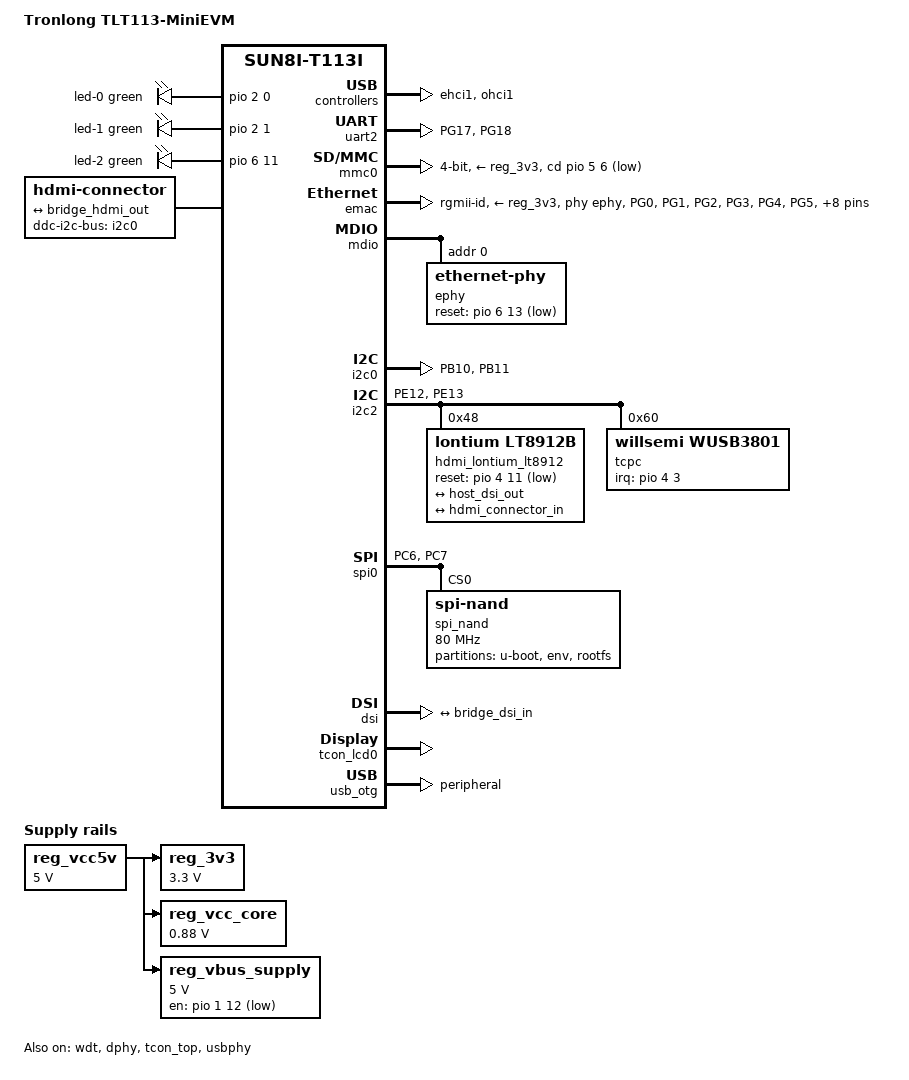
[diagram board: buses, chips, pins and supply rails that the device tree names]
// SPDX-License-Identifier: (GPL-2.0+ OR MIT)
// Copyright (C) 2022 Arm Ltd.
/*
 * Common peripherals and configurations for MangoPi MQ-R boards.
 */

#include <dt-bindings/gpio/gpio.h>
#include <dt-bindings/leds/common.h>

/dts-v1/;

#include <arm/allwinner/sun8i-t113s.dtsi>

/ {
	model = "Tronlong TLT113-MiniEVM";
	compatible = "tronlong,tlt113-minievm", "allwinner,sun8i-t113i";

	aliases {
		serial2 = &uart2;
	};

	chosen {
		stdout-path = "serial2:115200n8";
	};

	leds {
		compatible = "gpio-leds";

		led-0 {
			color = <LED_COLOR_ID_GREEN>;
			function = LED_FUNCTION_STATUS;
			gpios = <&pio 2 0 GPIO_ACTIVE_HIGH>; /* PC0 */
			linux,default-trigger = "heartbeat";
		};

		led-1 {
			color = <LED_COLOR_ID_GREEN>;
			function = LED_FUNCTION_DISK;
			gpios = <&pio 2 1 GPIO_ACTIVE_HIGH>; /* PC1 */
			linux,default-trigger = "mtd";
		};

		led-2 {
			color = <LED_COLOR_ID_GREEN>;
			function = LED_FUNCTION_HEARTBEAT;
			gpios = <&pio 6 11 GPIO_ACTIVE_HIGH>; /* PG11 */
			linux,default-trigger = "default-on";
		};

	};

	hdmi-connector {
		compatible = "hdmi-connector";
		ddc-i2c-bus = <&i2c0>;
		label = "hdmi";
		type = "a";

		port {
			hdmi_connector_in: endpoint {
				remote-endpoint = <&bridge_hdmi_out>;
			};
		};
	};

	/* EC2232E DC/DC regulator on SoM */
	reg_vcc5v: regulator-5v {
		compatible = "regulator-fixed";
		regulator-name = "vcc-5v";
		regulator-min-microvolt = <5000000>;
		regulator-max-microvolt = <5000000>;
		regulator-always-on;
	};

	/* EC2232E DC/DC regulator on SoM */
	reg_3v3: regulator-3v3 {
		compatible = "regulator-fixed";
		regulator-name = "vcc-3v3";
		regulator-min-microvolt = <3300000>;
		regulator-max-microvolt = <3300000>;
		vin-supply = <&reg_vcc5v>;
	};

	/* EC2232E DC/DC regulator on SoM, also supplying VDD-SYS */
	reg_vcc_core: regulator-core {
		compatible = "regulator-fixed";
		regulator-name = "vcc-core";
		regulator-min-microvolt = <880000>;
		regulator-max-microvolt = <880000>;
		vin-supply = <&reg_vcc5v>;
	};

	reg_vbus_supply: regulator-vbus-otg {
		compatible = "regulator-fixed";
		regulator-name = "vbus-otg";
		regulator-min-microvolt = <5000000>;
		regulator-max-microvolt = <5000000>;
		gpio = <&pio 1 12 GPIO_ACTIVE_HIGH>;
		vin-supply = <&reg_vcc5v>;
	};
};

&cpu0 {
	cpu-supply = <&reg_vcc_core>;
};

&cpu1 {
	cpu-supply = <&reg_vcc_core>;
};

&wdt {
	status = "okay";
};

&dcxo {
	clock-frequency = <24000000>;
};

&ehci1 {
	status = "okay";
};

&ohci1 {
	status = "okay";
};

&pio {
	vcc-pb-supply = <&reg_3v3>;
	vcc-pd-supply = <&reg_3v3>;
	vcc-pe-supply = <&reg_3v3>;
	vcc-pf-supply = <&reg_3v3>;
	vcc-pg-supply = <&reg_3v3>;

	uart2_pg_pins: uart2-pg-pins {
		pins = "PG17", "PG18";
		function = "uart2";
	};

	rgmii_pg_pins: rgmii-pg-pins {
		pins = "PG0", "PG1", "PG2", "PG3", "PG4",
			"PG5", "PG6", "PG7", "PG8", "PG9",
			"PG10", "PG12", "PG14", "PG15";
		function = "emac";
	};

	i2c0_pins: i2c0-pins {
		pins = "PB10", "PB11";
		function = "i2c0";
	};

	i2c2_pins: i2c2-pins {
		pins = "PE12", "PE13";
		function = "i2c2";
	};

	spi0_misc_pins: spi0-misc-pins {
		pins = "PC6", "PC7";
		function = "spi0";
	};
};

&uart2 {
	pinctrl-names = "default";
	pinctrl-0 = <&uart2_pg_pins>;
	status = "okay";
};

&mmc0 {
	pinctrl-0 = <&mmc0_pins>;
	pinctrl-names = "default";
	vmmc-supply = <&reg_3v3>;
	cd-gpios = <&pio 5 6 GPIO_ACTIVE_LOW>;
	disable-wp;
	bus-width = <4>;
	status = "okay";
};

&emac {
	pinctrl-0 = <&rgmii_pg_pins>;
	pinctrl-names = "default";
	status = "okay";
	phy-handle = <&ephy>;
	phy-mode = "rgmii-id";
	allwinner,tx-delay-ps = <200>;
	allwinner,rx-delay-ps = <0>;
	phy-supply = <&reg_3v3>;
};

&mdio {
	ephy: ethernet-phy@0 {
		reg = <0>;
		reset-gpios = <&pio 6 13 GPIO_ACTIVE_LOW>; /* PG13 */
		rx-internal-delay-ps = <600>;
		tx-internal-delay-ps = <450>;
		reset-assert-us = <10000>;
		reset-deassert-us = <1000000>;
	};
};

&i2c0 {
	pinctrl-names = "default";
	pinctrl-0 = <&i2c0_pins>;
	status = "okay";
};

&i2c2 {
	pinctrl-names = "default";
	pinctrl-0 = <&i2c2_pins>;
	status = "okay";

	hdmi_lontium_lt8912: hdmi@48 {
		compatible = "lontium,lt8912b";
		reg = <0x48>;
		reset-gpios = <&pio 4 11 GPIO_ACTIVE_LOW>; /* PE11 */
		status = "okay";

		ports {
			#address-cells = <1>;
			#size-cells = <0>;
			port@0 {
				reg = <0>;
				bridge_dsi_in: endpoint {
					data-lanes = <0 1 2 3>;
					remote-endpoint = <&host_dsi_out>;
				};
			};

			port@1 {
				reg = <1>;
				bridge_hdmi_out: endpoint {
					remote-endpoint = <&hdmi_connector_in>;
				};		
			};
		};
	};
	tcpc@60 {
		compatible = "willsemi,wusb3801";
		reg = <0x60>;
		interrupt-parent = <&pio>;
		interrupts = <4 3 IRQ_TYPE_LEVEL_LOW>; /* PE3 */
 
		connector {
			compatible = "usb-c-connector";
			label = "USB-C";
			vbus-supply = <&reg_vbus_supply>;
			power-role = "source";
			data-role = "dual";
			typec-power-opmode = "default";
			pd-disable;
        	};
	};
};

&spi0 {
	pinctrl-names = "default";
	pinctrl-0 = <&spi0_pins &spi0_misc_pins>;
	status = "okay";

	spi_nand@0 {
		compatible = "spi-nand";
		reg = <0>;
		spi-max-frequency = <80000000>;
		spi-tx-bus-width = <4>;
		spi-rx-bus-width = <4>;
		partitions {
			#address-cells = <1>;
			#size-cells = <1>;

			compatible = "fixed-partitions";
			partition@0 {
				label = "u-boot";
				reg = <0x0 0x100000>; /* 1MB */
			};

			partition@100000 {
				label = "env";
				reg = <0x100000 0x400000>; /* 4MB */
			};

			partition@500000 {
				label = "rootfs";
				reg = <0x500000 0xfb00000>; /* 251MB */
			};
		};
	};
};

&dsi {
	status = "okay";

	ports {
		#address-cells = <1>;
		#size-cells = <0>;

		port {
			host_dsi_out: endpoint {
				remote-endpoint = <&bridge_dsi_in>;
			};
		};
	};
};

&dphy {
	status = "okay";
};

&tcon_top {
	status = "okay";
};

&tcon_lcd0 {
	status = "okay";
};

&usb_otg {
	dr_mode = "peripheral";
	status = "okay";
};

&usbphy {
	usb1_vbus-supply = <&reg_vcc5v>;
	status = "okay";
};
